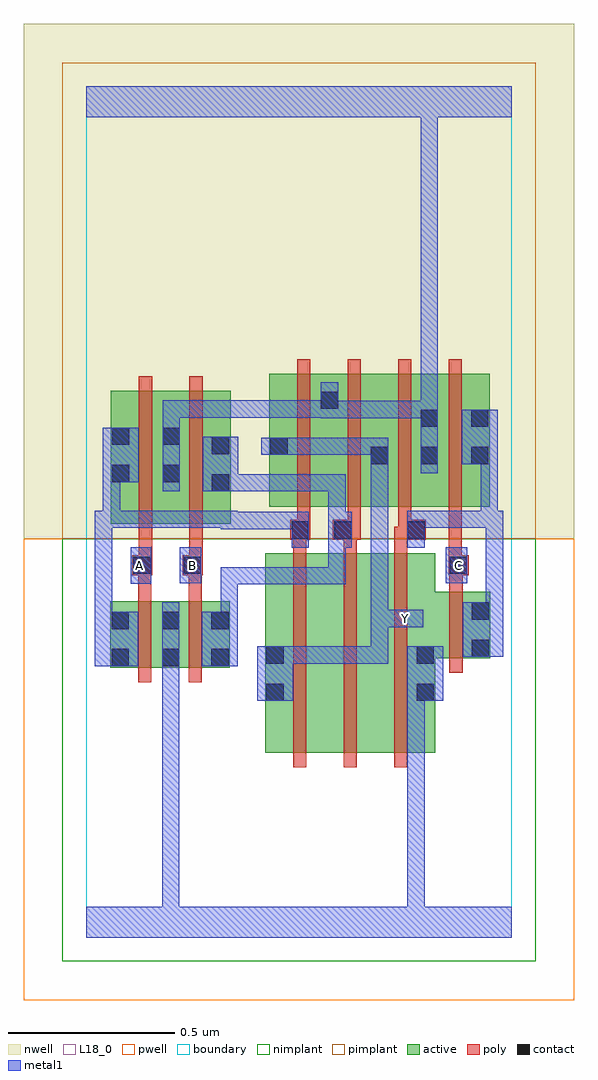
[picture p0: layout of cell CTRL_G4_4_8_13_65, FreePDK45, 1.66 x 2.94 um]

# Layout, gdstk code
import gdstk
lib = gdstk.Library(unit=1e-6, precision=1e-09)
def R(c, l, rs):  # rectangles x0, y0, x1, y1
    for r in rs: c.add(gdstk.rectangle(r[:2], r[2:], *l))
def A(c, l, x, y, w, h, nx, ny, dx, dy):  # array of equal rectangles
    R(c, l, [(x+i*dx, y+j*dy, x+i*dx+w, y+j*dy+h) for i in range(nx) for j in range(ny)])
active = (1, 0)
pwell = (2, 0)
nwell = (3, 0)
nimplant = (4, 0)
pimplant = (5, 0)
poly = (9, 0)
contact = (10, 0)
metal1 = (11, 0)
L18_0 = (18, 0)
boundary = (235, 0)

ctrl_g4_4_8_13_65 = lib.new_cell('CTRL_G4_4_8_13_65')
R(ctrl_g4_4_8_13_65, active, [(0.538,0.556,0.718,1.156), (0.538,0.556,0.598,1.156), (0.718,0.556,0.87,1.156), (0.87,0.556,1.05,1.156), (0.99,0.556,1.05,1.012), (0.072,0.812,0.132,1.012), (0.072,0.812,0.284,1.012), (0.224,0.812,0.284,1.012), (0.224,0.812,0.432,1.012), (0.372,0.812,0.432,1.012), (0.99,0.84,1.216,1.04), (1.156,0.84,1.216,1.04), (0.074,1.244,0.134,1.644), (0.074,1.244,0.286,1.644), (0.226,1.244,0.286,1.644), (0.226,1.244,0.434,1.644), (0.374,1.244,0.434,1.644), (0.55,1.296,0.762,1.696), (0.55,1.296,0.61,1.644), (0.702,1.296,0.912,1.696), (0.852,1.296,1.062,1.696), (1.002,1.296,1.214,1.696), (1.154,1.296,1.214,1.696), (1.002,1.366,1.062,1.696), (0.852,1.42,0.912,1.644), (0.702,1.448,0.762,1.696)])
R(ctrl_g4_4_8_13_65, pwell, [(-0.188,-0.188,1.468,1.2)])
R(ctrl_g4_4_8_13_65, nwell, [(-0.188,1.2,1.468,2.748)])
R(ctrl_g4_4_8_13_65, nimplant, [(-0.072,-0.072,1.352,1.2)])
R(ctrl_g4_4_8_13_65, pimplant, [(-0.072,1.2,1.352,2.632)])
A(ctrl_g4_4_8_13_65, poly, 0.622, 0.512, 0.04, 0.688, 3, 1, 0.152, 0)
A(ctrl_g4_4_8_13_65, poly, 0.622, 1.16, 0.04, 0.076, 3, 1, 0.152, 0)
A(ctrl_g4_4_8_13_65, poly, 0.634, 1.216, 0.04, 0.076, 4, 1, 0.152, 0)
A(ctrl_g4_4_8_13_65, poly, 0.634, 1.252, 0.04, 0.488, 4, 1, 0.152, 0)
R(ctrl_g4_4_8_13_65, poly, [(0.156,0.768,0.196,1.056), (0.308,0.768,0.348,1.056), (1.092,0.796,1.132,1.084), (0.156,1.016,0.196,1.13), (0.308,1.016,0.348,1.13), (1.092,1.044,1.132,1.13), (0.138,1.09,0.198,1.15), (0.29,1.09,0.35,1.15), (1.09,1.09,1.15,1.15), (0.158,1.11,0.198,1.15), (0.158,1.11,0.198,1.15), (0.158,1.11,0.198,1.24), (0.31,1.11,0.35,1.15), (0.31,1.11,0.35,1.15), (0.31,1.11,0.35,1.24), (1.09,1.11,1.13,1.256), (0.614,1.196,0.674,1.256), (0.622,1.196,0.662,1.236), (0.622,1.196,0.662,1.236), (0.742,1.196,0.826,1.256), (0.774,1.196,0.814,1.236), (0.774,1.196,0.814,1.236), (0.926,1.196,0.978,1.236), (0.938,1.196,0.978,1.236), (0.938,1.196,1.022,1.256), (0.158,1.2,0.198,1.688), (0.31,1.2,0.35,1.688), (1.09,1.216,1.13,1.256)])
R(ctrl_g4_4_8_13_65, contact, [(0.542,0.712,0.594,0.764), (0.994,0.712,1.046,0.764), (0.076,0.816,0.128,0.868), (0.228,0.816,0.28,0.868), (0.376,0.816,0.428,0.868), (0.542,0.824,0.594,0.876), (0.994,0.824,1.046,0.876), (1.16,0.844,1.212,0.896), (0.076,0.928,0.128,0.98), (0.228,0.928,0.28,0.98), (0.376,0.928,0.428,0.98), (1.16,0.956,1.212,1.008), (0.142,1.094,0.194,1.146), (0.294,1.094,0.346,1.146), (1.094,1.094,1.146,1.146), (0.618,1.2,0.67,1.252), (0.746,1.2,0.798,1.252), (0.966,1.2,1.018,1.252), (0.378,1.342,0.43,1.394), (0.078,1.37,0.13,1.422), (0.23,1.37,0.282,1.422), (0.856,1.424,0.908,1.476), (1.006,1.424,1.058,1.476), (1.158,1.424,1.21,1.476), (0.554,1.452,0.606,1.504), (0.378,1.454,0.43,1.506), (0.078,1.482,0.13,1.534), (0.23,1.482,0.282,1.534), (1.006,1.536,1.058,1.588), (1.158,1.536,1.21,1.588), (0.706,1.59,0.758,1.642)])
R(ctrl_g4_4_8_13_65, metal1, [(0,0,1.28,0.092), (0.228,0.04,0.28,0.092), (0.228,0.04,0.28,0.092), (0.228,0.04,0.28,0.092), (0.228,0.04,0.28,0.092), (0.228,0.04,0.28,0.092), (0.228,0.04,0.28,0.092), (0.228,0.04,0.28,0.092), (0.228,0.04,0.28,0.092), (0.228,0.04,0.28,0.092), (0.228,0.04,0.28,0.092), (0.228,0.04,0.28,0.84), (0.966,0.04,1.018,0.092), (0.966,0.04,1.018,0.092), (0.966,0.04,1.018,0.092), (0.966,0.04,1.018,0.092), (0.966,0.04,1.018,0.092), (0.966,0.04,1.018,0.092), (0.966,0.04,1.018,0.764), (0.514,0.712,0.622,0.876), (0.966,0.712,1.074,0.876), (0.966,0.712,1.018,0.764), (0.966,0.712,1.018,0.764), (0.228,0.788,0.28,0.84), (0.228,0.788,0.28,0.84), (0.228,0.788,0.28,0.84), (0.228,0.788,0.28,0.84), (0.228,0.788,0.28,0.84), (0.228,0.788,0.28,0.84), (0.228,0.788,0.28,1.008), (0.026,0.816,0.156,0.98), (0.348,0.816,0.456,0.98), (0.57,0.824,0.622,0.876), (0.57,0.824,0.622,0.876), (0.57,0.824,0.78,0.876), (0.728,0.824,0.78,0.876), (0.728,0.824,0.78,0.876), (0.728,0.824,0.78,0.876), (0.728,0.824,0.908,0.876), (0.856,0.824,0.908,0.876), (0.856,0.824,0.908,0.986), (1.132,0.844,1.254,1.008), (0.026,0.928,0.078,0.98), (0.026,0.928,0.078,0.98), (0.026,0.928,0.078,1.284), (0.404,0.928,0.456,1.114), (0.856,0.934,0.908,1.448), (0.856,0.934,1.014,0.986), (1.202,0.956,1.254,1.284), (0.404,1.062,0.456,1.114), (0.404,1.062,0.568,1.114), (0.516,1.062,0.568,1.114), (0.516,1.062,0.568,1.114), (0.516,1.062,0.568,1.114), (0.516,1.062,0.78,1.114), (0.728,1.062,0.78,1.114), (0.728,1.062,0.78,1.28), (0.134,1.064,0.196,1.174), (0.282,1.066,0.346,1.174), (1.082,1.066,1.146,1.174), (0.618,1.172,0.67,1.28), (0.746,1.172,0.798,1.28), (0.966,1.172,1.018,1.28), (0.404,1.228,0.456,1.284), (0.404,1.228,0.67,1.28), (0.728,1.228,0.78,1.28), (0.728,1.228,0.798,1.28), (0.728,1.228,0.78,1.394), (0.966,1.228,1.018,1.28), (0.966,1.228,1.018,1.284), (0.026,1.232,0.102,1.284), (0.05,1.232,0.102,1.284), (0.05,1.232,0.102,1.284), (0.05,1.232,0.29,1.284), (0.05,1.232,0.102,1.422), (0.238,1.232,0.29,1.284), (0.238,1.232,0.29,1.284), (0.238,1.232,0.29,1.284), (0.238,1.232,0.456,1.284), (0.404,1.232,0.456,1.284), (0.404,1.232,0.456,1.284), (0.966,1.232,1.238,1.284), (1.186,1.232,1.238,1.476), (1.186,1.232,1.238,1.284), (1.186,1.232,1.238,1.284), (1.186,1.232,1.254,1.284), (1.202,1.232,1.254,1.284), (1.202,1.232,1.254,1.284), (0.23,1.342,0.282,1.562), (0.35,1.342,0.458,1.506), (0.406,1.342,0.648,1.394), (0.596,1.342,0.648,1.394), (0.596,1.342,0.648,1.394), (0.596,1.342,0.648,1.394), (0.596,1.342,0.78,1.394), (0.728,1.342,0.78,1.394), (0.05,1.37,0.158,1.534), (0.856,1.396,0.908,1.448), (0.856,1.396,0.908,1.448), (0.856,1.396,0.908,1.504), (1.006,1.396,1.058,1.616), (1.13,1.424,1.238,1.588), (0.526,1.452,0.634,1.504), (0.582,1.452,0.634,1.504), (0.582,1.452,0.634,1.504), (0.582,1.452,0.78,1.504), (0.728,1.452,0.78,1.504), (0.728,1.452,0.78,1.504), (0.728,1.452,0.78,1.504), (0.728,1.452,0.908,1.504), (0.856,1.452,0.908,1.504), (0.856,1.452,0.908,1.504), (0.23,1.51,0.282,1.562), (0.23,1.51,0.282,1.616), (0.706,1.562,0.758,1.67), (0.706,1.562,0.78,1.614), (0.728,1.562,0.78,1.614), (0.728,1.562,0.908,1.614), (0.856,1.562,0.908,1.614), (0.856,1.562,0.908,1.614), (0.856,1.562,0.908,1.614), (0.856,1.562,1.058,1.614), (0.23,1.564,0.456,1.616), (0.404,1.564,0.456,1.616), (0.404,1.564,0.456,1.616), (0.404,1.564,0.456,1.616), (0.404,1.564,0.568,1.616), (0.516,1.564,0.568,1.616), (0.516,1.564,0.758,1.616), (1.006,1.564,1.058,2.52), (0,2.468,1.28,2.56), (1.006,2.468,1.058,2.52), (1.006,2.468,1.058,2.52), (1.006,2.468,1.058,2.52), (1.006,2.468,1.058,2.52), (1.006,2.468,1.058,2.52), (1.006,2.468,1.058,2.52), (1.006,2.468,1.058,2.52), (1.006,2.468,1.058,2.52), (1.006,2.468,1.058,2.52), (1.006,2.468,1.058,2.52), (1.006,2.468,1.058,2.52), (1.006,2.468,1.058,2.52), (1.006,2.468,1.058,2.52), (1.006,2.468,1.058,2.52), (1.006,2.468,1.058,2.52), (1.006,2.468,1.058,2.52)])
R(ctrl_g4_4_8_13_65, L18_0, [(0,0,1.28,0.092), (0.228,0.04,0.28,0.092), (0.228,0.04,0.28,0.092), (0.228,0.04,0.28,0.092), (0.228,0.04,0.28,0.092), (0.228,0.04,0.28,0.092), (0.228,0.04,0.28,0.092), (0.228,0.04,0.28,0.092), (0.228,0.04,0.28,0.092), (0.228,0.04,0.28,0.092), (0.228,0.04,0.28,0.092), (0.228,0.04,0.28,0.84), (0.966,0.04,1.018,0.092), (0.966,0.04,1.018,0.092), (0.966,0.04,1.018,0.092), (0.966,0.04,1.018,0.092), (0.966,0.04,1.018,0.092), (0.966,0.04,1.018,0.092), (0.966,0.04,1.018,0.764), (0.514,0.712,0.622,0.876), (0.966,0.712,1.018,0.764), (0.966,0.712,1.018,0.764), (0.966,0.712,1.074,0.876), (0.228,0.788,0.28,0.84), (0.228,0.788,0.28,0.84), (0.228,0.788,0.28,0.84), (0.228,0.788,0.28,0.84), (0.228,0.788,0.28,0.84), (0.228,0.788,0.28,0.84), (0.228,0.788,0.28,1.008), (0.57,0.824,0.622,0.876), (0.57,0.824,0.622,0.876), (0.57,0.824,0.78,0.876), (0.728,0.824,0.78,0.876), (0.728,0.824,0.78,0.876), (0.728,0.824,0.78,0.876), (0.728,0.824,0.908,0.876), (0.856,0.824,0.908,0.876), (0.856,0.824,0.908,0.986), (0.856,0.934,1.014,0.986), (0.856,0.934,0.908,1.448), (0.934,0.934,0.986,0.986), (0.134,1.064,0.196,1.174), (0.282,1.066,0.346,1.174), (1.082,1.066,1.146,1.174), (0.134,1.094,0.186,1.146), (0.294,1.094,0.346,1.146), (1.094,1.094,1.146,1.146), (0.23,1.342,0.282,1.562), (0.856,1.396,0.908,1.448), (0.856,1.396,0.908,1.448), (0.856,1.396,0.908,1.504), (1.006,1.396,1.058,1.616), (0.526,1.452,0.634,1.504), (0.582,1.452,0.634,1.504), (0.582,1.452,0.634,1.504), (0.582,1.452,0.78,1.504), (0.728,1.452,0.78,1.504), (0.728,1.452,0.78,1.504), (0.728,1.452,0.78,1.504), (0.728,1.452,0.908,1.504), (0.856,1.452,0.908,1.504), (0.856,1.452,0.908,1.504), (0.23,1.51,0.282,1.562), (0.23,1.51,0.282,1.616), (0.706,1.562,0.758,1.67), (0.706,1.562,0.78,1.614), (0.728,1.562,0.78,1.614), (0.728,1.562,0.908,1.614), (0.856,1.562,0.908,1.614), (0.856,1.562,0.908,1.614), (0.856,1.562,0.908,1.614), (0.856,1.562,1.058,1.614), (0.23,1.564,0.456,1.616), (0.404,1.564,0.456,1.616), (0.404,1.564,0.456,1.616), (0.404,1.564,0.456,1.616), (0.404,1.564,0.568,1.616), (0.516,1.564,0.568,1.616), (0.516,1.564,0.758,1.616), (1.006,1.564,1.058,2.52), (0,2.468,1.28,2.56), (1.006,2.468,1.058,2.52), (1.006,2.468,1.058,2.52), (1.006,2.468,1.058,2.52), (1.006,2.468,1.058,2.52), (1.006,2.468,1.058,2.52), (1.006,2.468,1.058,2.52), (1.006,2.468,1.058,2.52), (1.006,2.468,1.058,2.52), (1.006,2.468,1.058,2.52), (1.006,2.468,1.058,2.52), (1.006,2.468,1.058,2.52), (1.006,2.468,1.058,2.52), (1.006,2.468,1.058,2.52), (1.006,2.468,1.058,2.52), (1.006,2.468,1.058,2.52), (1.006,2.468,1.058,2.52)])
R(ctrl_g4_4_8_13_65, boundary, [(0,0,1.28,2.56)])
ctrl_g4_4_8_13_65.add(gdstk.Label('A', (0.16,1.12), layer=11, texttype=0))
ctrl_g4_4_8_13_65.add(gdstk.Label('B', (0.32,1.12), layer=11, texttype=0))
ctrl_g4_4_8_13_65.add(gdstk.Label('C', (1.12,1.12), layer=11, texttype=0))
ctrl_g4_4_8_13_65.add(gdstk.Label('Y', (0.96,0.96), layer=11, texttype=0))

lib.write_gds('CTRL_G4_4_8_13_65.gds')
